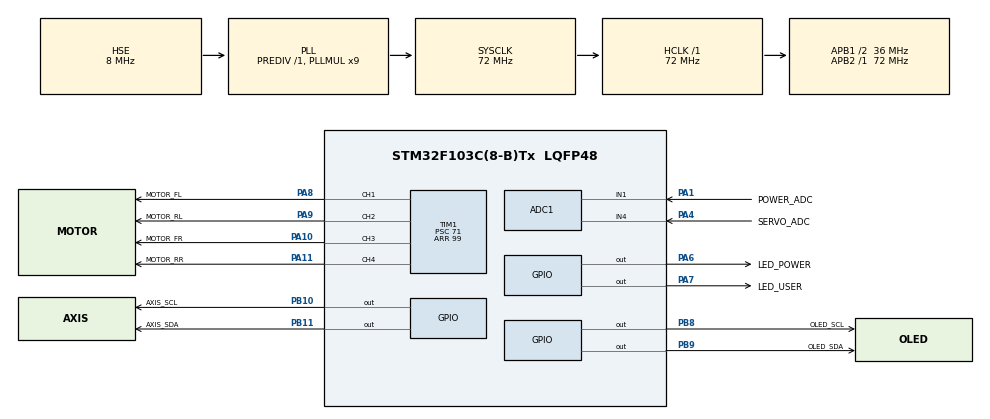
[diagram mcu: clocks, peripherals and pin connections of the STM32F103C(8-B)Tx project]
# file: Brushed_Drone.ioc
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ADC1.Channel-0\#ChannelRegularConversion=ADC_CHANNEL_1
ADC1.Channel-1\#ChannelRegularConversion=ADC_CHANNEL_4
ADC1.ContinuousConvMode=ENABLE
ADC1.NbrOfConversion=2
ADC1.NbrOfConversionFlag=1
ADC1.Rank-0\#ChannelRegularConversion=1
ADC1.Rank-1\#ChannelRegularConversion=2
ADC1.SamplingTime-0\#ChannelRegularConversion=ADC_SAMPLETIME_55CYCLES_5
ADC1.SamplingTime-1\#ChannelRegularConversion=ADC_SAMPLETIME_55CYCLES_5
ADC1.master=1
Dma.ADC1.0.Direction=DMA_PERIPH_TO_MEMORY
Dma.ADC1.0.Instance=DMA1_Channel1
Dma.ADC1.0.MemDataAlignment=DMA_MDATAALIGN_HALFWORD
Dma.ADC1.0.MemInc=DMA_MINC_ENABLE
Dma.ADC1.0.Mode=DMA_CIRCULAR
Dma.ADC1.0.PeriphDataAlignment=DMA_PDATAALIGN_HALFWORD
Dma.ADC1.0.PeriphInc=DMA_PINC_DISABLE
Dma.ADC1.0.Priority=DMA_PRIORITY_LOW
Dma.Request0=ADC1
Mcu.Family=STM32F1
Mcu.Name=STM32F103C(8-B)Tx
Mcu.Package=LQFP48
NVIC.DMA1_Channel1_IRQn=true\:0\:0\:false\:false\:true\:false\:true\:true
NVIC.PriorityGroup=NVIC_PRIORITYGROUP_4
PA1.GPIO_Label=POWER_ADC
PA1.Signal=ADCx_IN1
PA10.GPIO_Label=MOTOR_FR
PA10.GPIO_Speed=GPIO_SPEED_FREQ_HIGH
PA10.Signal=S_TIM1_CH3
PA11.GPIO_Label=MOTOR_RR
PA11.GPIO_Speed=GPIO_SPEED_FREQ_HIGH
PA11.Signal=S_TIM1_CH4
PA13.Mode=Serial_Wire
PA13.Signal=SYS_JTMS-SWDIO
PA14.Mode=Serial_Wire
PA14.Signal=SYS_JTCK-SWCLK
PA4.GPIO_Label=SERVO_ADC
PA4.Signal=ADCx_IN4
PA6.GPIO_Label=LED_POWER
PA6.GPIO_PuPd=GPIO_PULLDOWN
PA6.Signal=GPIO_Output
PA7.GPIO_Label=LED_USER
PA7.GPIO_PuPd=GPIO_PULLDOWN
PA7.Signal=GPIO_Output
PA8.GPIO_Label=MOTOR_FL
PA8.GPIO_Speed=GPIO_SPEED_FREQ_HIGH
PA8.Signal=S_TIM1_CH1
PA9.GPIO_Label=MOTOR_RL
PA9.GPIO_Speed=GPIO_SPEED_FREQ_HIGH
PA9.Signal=S_TIM1_CH2
PB10.GPIO_Label=AXIS_SCL
PB10.GPIO_ModeDefaultOutputPP=GPIO_MODE_OUTPUT_OD
PB10.GPIO_PuPd=GPIO_PULLUP
PB10.GPIO_Speed=GPIO_SPEED_FREQ_HIGH
PB10.Signal=GPIO_Output
PB11.GPIO_Label=AXIS_SDA
PB11.GPIO_ModeDefaultOutputPP=GPIO_MODE_OUTPUT_OD
PB11.GPIO_PuPd=GPIO_PULLUP
PB11.GPIO_Speed=GPIO_SPEED_FREQ_HIGH
PB11.Signal=GPIO_Output
PB8.GPIO_Label=OLED_SCL
PB8.GPIO_ModeDefaultOutputPP=GPIO_MODE_OUTPUT_OD
PB8.GPIO_PuPd=GPIO_PULLUP
PB8.GPIO_Speed=GPIO_SPEED_FREQ_HIGH
PB8.Signal=GPIO_Output
PB9.GPIO_Label=OLED_SDA
PB9.GPIO_ModeDefaultOutputPP=GPIO_MODE_OUTPUT_OD
PB9.GPIO_PuPd=GPIO_PULLUP
PB9.GPIO_Speed=GPIO_SPEED_FREQ_HIGH
PB9.Signal=GPIO_Output
PD0-OSC_IN.Mode=HSE-External-Oscillator
PD0-OSC_IN.Signal=RCC_OSC_IN
PD1-OSC_OUT.Mode=HSE-External-Oscillator
PD1-OSC_OUT.Signal=RCC_OSC_OUT
ProjectManager.HeapSize=0x200
ProjectManager.StackSize=0x400
ProjectManager.TargetToolchain=MDK-ARM V5.32
RCC.ADCPresc=RCC_ADCPCLK2_DIV6
RCC.AHBFreq_Value=72000000
RCC.APB1CLKDivider=RCC_HCLK_DIV2
RCC.APB1Freq_Value=36000000
RCC.APB1TimFreq_Value=72000000
RCC.APB2Freq_Value=72000000
RCC.APB2TimFreq_Value=72000000
RCC.HCLKFreq_Value=72000000
RCC.PLLMUL=RCC_PLL_MUL9
RCC.PLLSourceVirtual=RCC_PLLSOURCE_HSE
RCC.SYSCLKFreq_VALUE=72000000
RCC.SYSCLKSource=RCC_SYSCLKSOURCE_PLLCLK
RCC.USBFreq_Value=72000000
SH.ADCx_IN1.0=ADC1_IN1,IN1
SH.ADCx_IN4.0=ADC1_IN4,IN4
SH.S_TIM1_CH1.0=TIM1_CH1,PWM Generation1 CH1
SH.S_TIM1_CH2.0=TIM1_CH2,PWM Generation2 CH2
SH.S_TIM1_CH3.0=TIM1_CH3,PWM Generation3 CH3
SH.S_TIM1_CH4.0=TIM1_CH4,PWM Generation4 CH4
TIM1.Channel-PWM\ Generation1\ CH1=TIM_CHANNEL_1
TIM1.Channel-PWM\ Generation2\ CH2=TIM_CHANNEL_2
TIM1.Channel-PWM\ Generation3\ CH3=TIM_CHANNEL_3
TIM1.Channel-PWM\ Generation4\ CH4=TIM_CHANNEL_4
TIM1.Period=99
TIM1.Prescaler=71
VP_TIM1_VS_ClockSourceINT.Mode=Internal
board=custom

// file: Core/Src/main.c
/* USER CODE BEGIN Header */
/**
 ******************************************************************************
 * @file           : main.c
 * @brief          : Main program body
 ******************************************************************************
 * @attention
 *
 * Copyright (c) 2025 STMicroelectronics.
 * All rights reserved.
 *
 * This software is licensed under terms that can be found in the LICENSE file
 * in the root directory of this software component.
 * If no LICENSE file comes with this software, it is provided AS-IS.
 *
 ******************************************************************************
 */
/* USER CODE END Header */
#include "main.h"
#include "adc.h"
#include "dma.h"
#include "tim.h"
#include "gpio.h"

/* USER CODE BEGIN Includes */
#include "OLED.h"
#include "MPU6050.h"
#include "QMC5883P.h"
#include "BMP280.h"
#include "Delay.h"
#include "Power.h"
#include "LED.h"
#include "Motor.h"
/* USER CODE END Includes */

void SystemClock_Config(void);

int main(void)
{

  /* MCU Configuration--------------------------------------------------------*/

  /* Reset of all peripherals, Initializes the Flash interface and the Systick. */
  HAL_Init();

  /* Configure the system clock */
  SystemClock_Config();

  /* Initialize all configured peripherals */
  MX_GPIO_Init();
  MX_DMA_Init();
  MX_ADC1_Init();
  MX_TIM1_Init();
  /* USER CODE BEGIN 2 */
  OLED_Init();
  MPU6050_Init();
  QMC5883P_Init();
  BMP280_Init();
  Power_Init();
  LED_Init();
  Motor_Init();
  OLED_Printf(0, 0, OLED_6X8, "%X", MPU6050_GetID());
  OLED_Printf(18, 0, OLED_6X8, "%X", QMC5883P_GetID());
  OLED_Printf(36, 0, OLED_6X8, "%X", BMP280_GetID());
  OLED_Update();
  Delay_ms(10);

  /* USER CODE END 2 */

  /* Infinite loop */
  while (1)
  {

    /* USER CODE BEGIN 3 */
    LED_Blink();
    MPU6050_GetData();
    QMC5883P_GetData();
    double BMP_Temperature = BMP280_Get_Temperature();
    double BMP_Pressure = BMP280_Get_Pressure();
    float voltage;
    Power_ReadVoltage(&voltage);
    OLED_Printf(50, 0, OLED_6X8, "V:%+.2fV", voltage);

    for (uint8_t i = 0; i <= 100; i++)
    {
      Motor_SetSpeed(MOTOR_RL, i);
      Delay_ms(1000);
      OLED_Printf(100, 0, OLED_6X8, "%03d ", i);
      OLED_Update();
    }
    for( uint8_t i = 100; i > 0; i--)
    {
      Motor_SetSpeed(MOTOR_RL, i);
      Delay_ms(1000);
      OLED_Printf(100, 0, OLED_6X8, "%03d ", i);
      OLED_Update();
    }

    OLED_Printf(0, 8, OLED_6X8, "AX:%+.2f,AY:%+.2f", MPU6050_ReturnAX(), MPU6050_ReturnAY());
    OLED_Printf(0, 16, OLED_6X8, "AZ:%+.2f,GX:%+.2f", MPU6050_ReturnAZ(), MPU6050_ReturnGX());
    OLED_Printf(0, 24, OLED_6X8, "GY:%+.2f,GZ:%+.2f", MPU6050_ReturnGY(), MPU6050_ReturnGZ());

    OLED_Printf(0, 32, OLED_6X8, "MX:%05d,MY:%05d", QMC5883P_ReturnMX(), QMC5883P_ReturnMY());
    OLED_Printf(0, 40, OLED_6X8, "MZ:%05d", QMC5883P_ReturnMZ());

    OLED_Printf(0, 48, OLED_6X8, "T %fC", BMP_Temperature);
    OLED_Printf(0, 56, OLED_6X8, "P %fPa", BMP_Pressure);
    OLED_Update();
    Delay_ms(50);
  }
  /* USER CODE END 3 */
}

void SystemClock_Config(void)
{
  RCC_OscInitTypeDef RCC_OscInitStruct = {0};
  RCC_ClkInitTypeDef RCC_ClkInitStruct = {0};
  RCC_PeriphCLKInitTypeDef PeriphClkInit = {0};

  /** Initializes the RCC Oscillators according to the specified parameters
   * in the RCC_OscInitTypeDef structure.
   */
  RCC_OscInitStruct.OscillatorType = RCC_OSCILLATORTYPE_HSE;
  RCC_OscInitStruct.HSEState = RCC_HSE_ON;
  RCC_OscInitStruct.HSEPredivValue = RCC_HSE_PREDIV_DIV1;
  RCC_OscInitStruct.HSIState = RCC_HSI_ON;
  RCC_OscInitStruct.PLL.PLLState = RCC_PLL_ON;
  RCC_OscInitStruct.PLL.PLLSource = RCC_PLLSOURCE_HSE;
  RCC_OscInitStruct.PLL.PLLMUL = RCC_PLL_MUL9;
  if (HAL_RCC_OscConfig(&RCC_OscInitStruct) != HAL_OK)
  {
    Error_Handler();
  }

  /** Initializes the CPU, AHB and APB buses clocks
   */
  RCC_ClkInitStruct.ClockType = RCC_CLOCKTYPE_HCLK | RCC_CLOCKTYPE_SYSCLK | RCC_CLOCKTYPE_PCLK1 | RCC_CLOCKTYPE_PCLK2;
  RCC_ClkInitStruct.SYSCLKSource = RCC_SYSCLKSOURCE_PLLCLK;
  RCC_ClkInitStruct.AHBCLKDivider = RCC_SYSCLK_DIV1;
  RCC_ClkInitStruct.APB1CLKDivider = RCC_HCLK_DIV2;
  RCC_ClkInitStruct.APB2CLKDivider = RCC_HCLK_DIV1;

  if (HAL_RCC_ClockConfig(&RCC_ClkInitStruct, FLASH_LATENCY_2) != HAL_OK)
  {
    Error_Handler();
  }
  PeriphClkInit.PeriphClockSelection = RCC_PERIPHCLK_ADC;
  PeriphClkInit.AdcClockSelection = RCC_ADCPCLK2_DIV6;
  if (HAL_RCCEx_PeriphCLKConfig(&PeriphClkInit) != HAL_OK)
  {
    Error_Handler();
  }
}

void Error_Handler(void)
{
  __disable_irq();
  while (1)
  {
  }
}
